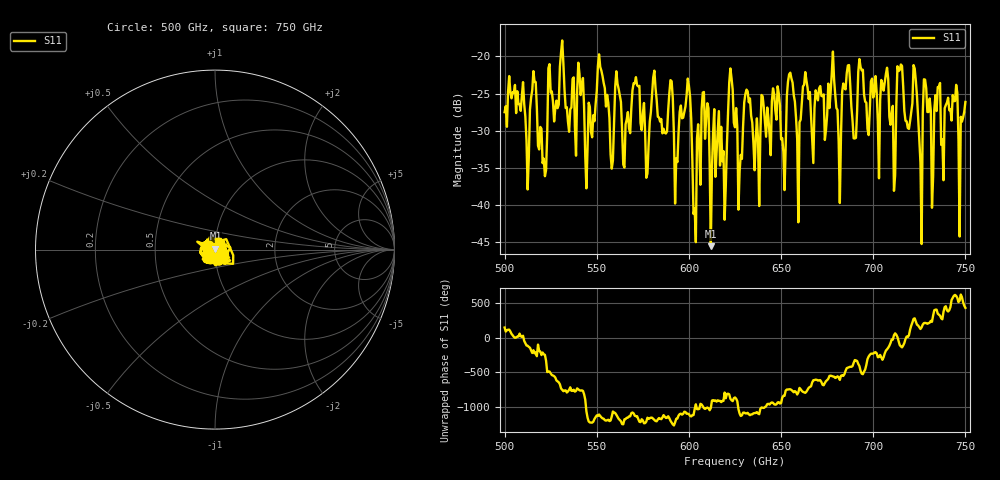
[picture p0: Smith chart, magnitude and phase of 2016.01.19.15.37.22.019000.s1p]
!Created with skrf (http://scikit-rf.org).
# GHz S RI R 50.0
!freq ReS11 ImS11
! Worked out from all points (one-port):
!   401 points, 500 GHz to 750 GHz, reference 50 ohm
!   lowest |S11| = -45.6 dB at 611.9 GHz (marker M1), VSWR 1.01, Z = 50.3 + j0.45 ohm
!   |S11| at or under -10 dB: start of sweep to end of sweep
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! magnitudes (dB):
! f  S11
! 500 GHz  -27.5
! 512.5 GHz  -37.9
! 515.6 GHz  -22.0
! 521.9 GHz  -36.2
! 531.2 GHz  -17.8
! 544.4 GHz  -37.8
! 551.9 GHz  -21.4
! 558.1 GHz  -35.1
! 562.5 GHz  -25.2
! 577.5 GHz  -35.8
! 590 GHz  -23.2
! 593.8 GHz  -34.2
! 599.4 GHz  -23.0
! 603.1 GHz  -40.5
! 608.1 GHz  -24.8
! 611.9 GHz  -45.6
! 625 GHz  -29.6
! 651.2 GHz  -32.9
! 656.2 GHz  -23.5
! 659.4 GHz  -42.4
! 663.1 GHz  -22.1
! 678.1 GHz  -19.3
! 681.2 GHz  -31.5
! 687.5 GHz  -23.7
! 710.6 GHz  -26.7
! 714.4 GHz  -21.8
! 718.8 GHz  -29.7
! 750 GHz  -26.1
